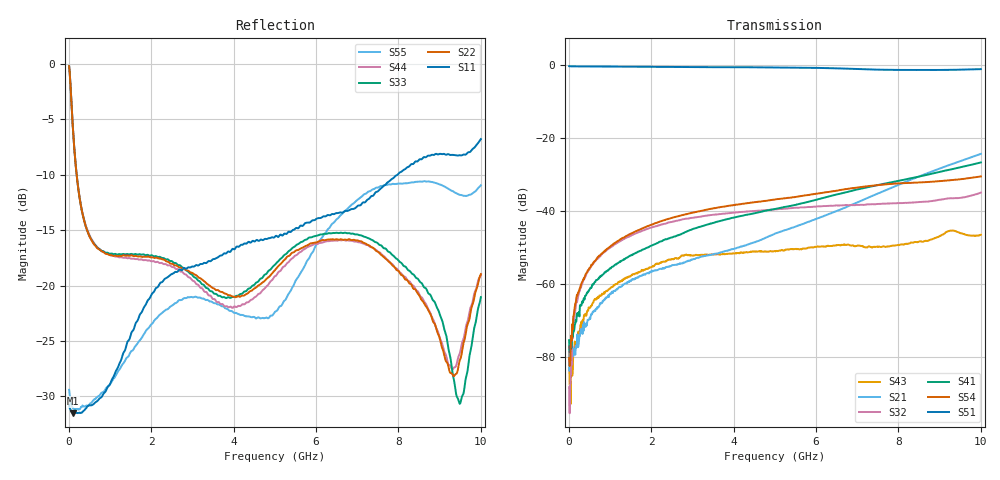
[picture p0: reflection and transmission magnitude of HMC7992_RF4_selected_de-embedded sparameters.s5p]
! Device:	HMC7992
! Description:	Silicon MMIC SP4T Non-Reflective Switch
! Package:	LP3E - 16 pin 3x3mm QFN plastic package
! Frequency:	0.1 -  6 GHz
! Ports:
! RFC = Port 1
! RF1 = Port 2
! RF2 = Port 3
! RF3 = Port 4
! RF4 = Port 5
! State: RF4 Selected
! Supply Voltage:
! Vdd = 5 V
! Control Voltages:
! VA  = 5 V
! VB  = 5 V
! Data:	Data was collected using a calibrated network analyzer with AFR software.
!	Fixtures were calculated using AFR and fixturing was applied to collect
!	this Deembedded  S Parameter data of HMC7992.
! Note:	Analog Devices supplies this data as a sample of measured data at the package pin
!	for this product.  Your particular data for this product may vary.
!	Data was taken at 25 degrees C.
!	Analog Devices reserves the right to change this data at anytime.
# GHz S  dB  R 50
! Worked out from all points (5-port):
!   801 points, 10 MHz to 10 GHz, reference 50 ohm
!   strongest paths, dB at 10 MHz, 2.507 GHz, 5.005 GHz, 7.503 GHz, 10 GHz:
!     S51: -0.5, -0.7, -0.8, -1.4, -1.3
!     S54: -80.2, -41.9, -36.9, -33.0, -30.6
!     S41: -75.3, -47.2, -39.5, -32.9, -26.8
!     S32: -88.1, -43.0, -39.6, -38.1, -35.0
!     S21: -83.6, -54.8, -46.2, -35.3, -24.4
!     S43: -77.0, -53.1, -51.0, -49.7, -46.5
!   lowest |S11| = -31.5 dB at 109.9 MHz (marker M1), VSWR 1.05, Z = 52.7 - j0.307 ohm
!   |S11| at or under -10 dB: start of sweep to 7.981 GHz
